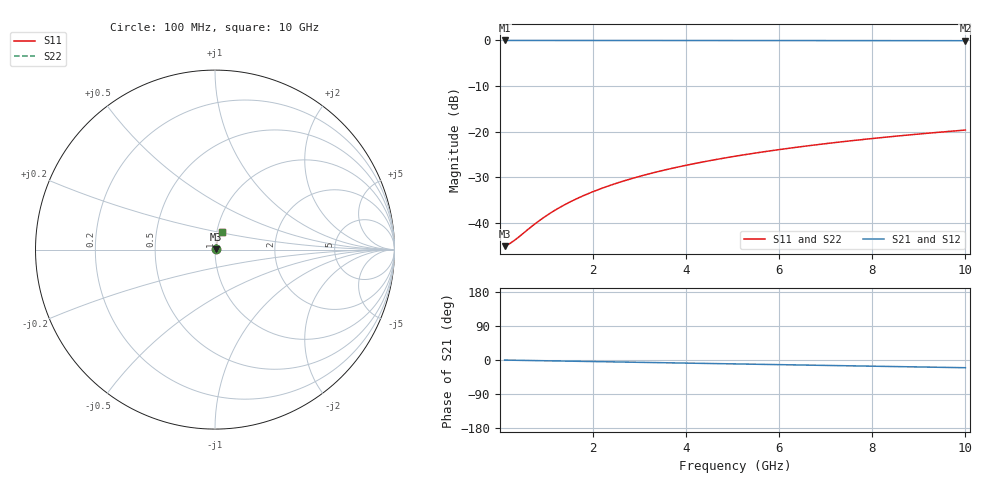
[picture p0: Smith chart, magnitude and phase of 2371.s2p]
# Hz S RI R 50.00
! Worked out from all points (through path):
!   100 points, 100 MHz to 10 GHz, reference 50 ohm
!   highest |S21| = -0.05 dB at 100 MHz (marker M1); lowest = -0.1 dB at 10 GHz (marker M2)
!   group delay of S21, straight-line fit = 5.66 ps
!   lowest |S11| = -45.1 dB at 100 MHz (marker M3), VSWR 1.01, Z = 50.6 + j0.106 ohm
!   |S11| at or under -10 dB: start of sweep to end of sweep
!   |S22| runs from -45.1 to -19.7 dB; largest |S21 - S12| = 0
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1e8  0.00549 0.00105  0.9945 -0.00355  0.9945 -0.00355  0.00549 0.00105
2e8  0.00553 0.00209  0.9944 -0.00709  0.9944 -0.00709  0.00553 0.00209
3e8  0.00558 0.00314  0.9944 -0.0106  0.9944 -0.0106  0.00558 0.00314
8e8  0.00586 0.00836  0.9939 -0.0284  0.9939 -0.0284  0.00586 0.00836
9e8  0.00594 0.00941  0.9938 -0.0319  0.9938 -0.0319  0.00594 0.00941
1.1e9  0.00611 0.0115  0.9935 -0.039  0.9935 -0.039  0.00611 0.0115
1.4e9  0.00642 0.0146  0.9929 -0.0496  0.9929 -0.0496  0.00642 0.0146
1.6e9  0.00666 0.0167  0.9925 -0.0567  0.9925 -0.0567  0.00666 0.0167
1.8e9  0.00693 0.0188  0.992 -0.0638  0.992 -0.0638  0.00693 0.0188
2.1e9  0.00738 0.0219  0.9912 -0.0744  0.9912 -0.0744  0.00738 0.0219
2.5e9  0.00809 0.026  0.9899 -0.0885  0.9899 -0.0885  0.00809 0.026
2.9e9  0.00892 0.0301  0.9884 -0.1026  0.9884 -0.1026  0.00892 0.0301
3.4e9  0.0101 0.0352  0.9862 -0.1201  0.9862 -0.1201  0.0101 0.0352
3.8e9  0.0112 0.0392  0.9842 -0.1341  0.9842 -0.1341  0.0112 0.0392
4.2e9  0.0124 0.0432  0.982 -0.1481  0.982 -0.1481  0.0124 0.0432
4.6e9  0.0137 0.0472  0.9795 -0.1621  0.9795 -0.1621  0.0137 0.0472
5.1e9  0.0155 0.052  0.9762 -0.1794  0.9762 -0.1794  0.0155 0.052
5.9e9  0.0187 0.0597  0.9702 -0.207  0.9702 -0.207  0.0187 0.0597
6.7e9  0.0224 0.0672  0.9633 -0.2344  0.9633 -0.2344  0.0224 0.0672
7.5e9  0.0265 0.0745  0.9557 -0.2615  0.9557 -0.2615  0.0265 0.0745
8.4e9  0.0315 0.0823  0.9461 -0.2916  0.9461 -0.2916  0.0315 0.0823
1e10  0.0417 0.0954  0.9265 -0.3442  0.9265 -0.3442  0.0417 0.0954
